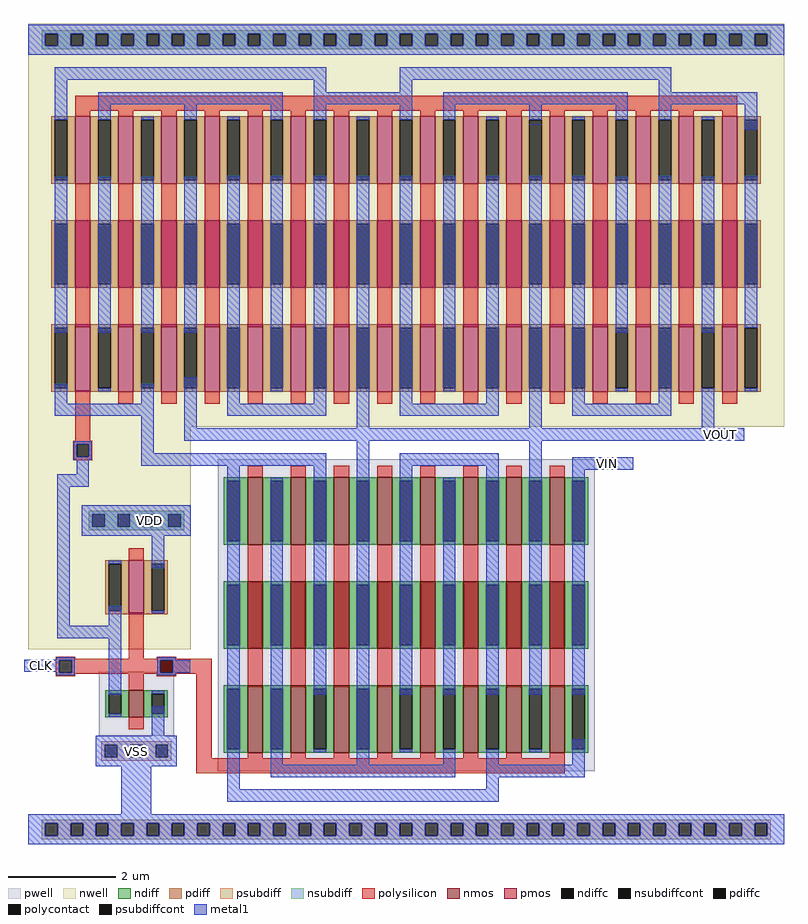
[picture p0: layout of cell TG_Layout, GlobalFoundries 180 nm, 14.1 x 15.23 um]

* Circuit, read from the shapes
.subckt TG_Layout CLK VIN VOUT VDD VSS
XM1 VSS CLK Inverter_Layout_0/OUT VSS nfet_03v3 w=0.5u l=0.28u
XM2 VOUT CLK VIN VSS nfet_03v3 w=1.25u l=0.28u m=24
XM3 VOUT Inverter_Layout_0/OUT VIN VDD pfet_03v3 w=1.25u l=0.28u m=48
XM4 VDD CLK Inverter_Layout_0/OUT VDD pfet_03v3 w=1u l=0.28u
.ends

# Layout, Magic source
magic
tech gf180mcuC
magscale 1 10
<< nwell >>
rect 61 2680 2865 2894
rect 1120 2594 1326 2595
rect 1440 2594 1486 2595
rect 2125 2538 2126 2640
rect 2080 2537 2126 2538
rect 1440 1438 1486 1541
rect 260 1398 664 1399
rect 61 1087 664 1398
rect 61 573 260 1087
<< pwell >>
rect 1280 120 1646 144
<< pdiff >>
rect 2125 2538 2126 2544
rect 2080 2537 2126 2538
rect 1440 1528 1486 1541
<< psubdiff >>
rect 111 -73 2815 -60
rect 111 -119 124 -73
rect 170 -119 218 -73
rect 264 -119 312 -73
rect 358 -119 406 -73
rect 452 -119 500 -73
rect 546 -119 594 -73
rect 640 -119 688 -73
rect 734 -119 782 -73
rect 828 -119 876 -73
rect 922 -119 970 -73
rect 1016 -119 1064 -73
rect 1110 -119 1158 -73
rect 1204 -119 1252 -73
rect 1298 -119 1346 -73
rect 1392 -119 1440 -73
rect 1486 -119 1534 -73
rect 1580 -119 1628 -73
rect 1674 -119 1722 -73
rect 1768 -119 1816 -73
rect 1862 -119 1910 -73
rect 1956 -119 2004 -73
rect 2050 -119 2098 -73
rect 2144 -119 2192 -73
rect 2238 -119 2286 -73
rect 2332 -119 2380 -73
rect 2426 -119 2474 -73
rect 2520 -119 2568 -73
rect 2614 -119 2662 -73
rect 2708 -119 2756 -73
rect 2802 -119 2815 -73
rect 111 -132 2815 -119
<< nsubdiff >>
rect 111 2857 2815 2870
rect 111 2811 124 2857
rect 170 2811 218 2857
rect 264 2811 312 2857
rect 358 2811 406 2857
rect 452 2811 500 2857
rect 546 2811 594 2857
rect 640 2811 688 2857
rect 734 2811 782 2857
rect 828 2811 876 2857
rect 922 2811 970 2857
rect 1016 2811 1064 2857
rect 1110 2811 1158 2857
rect 1204 2811 1252 2857
rect 1298 2811 1346 2857
rect 1392 2811 1440 2857
rect 1486 2811 1534 2857
rect 1580 2811 1628 2857
rect 1674 2811 1722 2857
rect 1768 2811 1816 2857
rect 1862 2811 1910 2857
rect 1956 2811 2004 2857
rect 2050 2811 2098 2857
rect 2144 2811 2192 2857
rect 2238 2811 2286 2857
rect 2332 2811 2380 2857
rect 2426 2811 2474 2857
rect 2520 2811 2568 2857
rect 2614 2811 2662 2857
rect 2708 2811 2756 2857
rect 2802 2811 2815 2857
rect 111 2798 2815 2811
<< psubdiffcont >>
rect 124 -119 170 -73
rect 218 -119 264 -73
rect 312 -119 358 -73
rect 406 -119 452 -73
rect 500 -119 546 -73
rect 594 -119 640 -73
rect 688 -119 734 -73
rect 782 -119 828 -73
rect 876 -119 922 -73
rect 970 -119 1016 -73
rect 1064 -119 1110 -73
rect 1158 -119 1204 -73
rect 1252 -119 1298 -73
rect 1346 -119 1392 -73
rect 1440 -119 1486 -73
rect 1534 -119 1580 -73
rect 1628 -119 1674 -73
rect 1722 -119 1768 -73
rect 1816 -119 1862 -73
rect 1910 -119 1956 -73
rect 2004 -119 2050 -73
rect 2098 -119 2144 -73
rect 2192 -119 2238 -73
rect 2286 -119 2332 -73
rect 2380 -119 2426 -73
rect 2474 -119 2520 -73
rect 2568 -119 2614 -73
rect 2662 -119 2708 -73
rect 2756 -119 2802 -73
<< nsubdiffcont >>
rect 124 2811 170 2857
rect 218 2811 264 2857
rect 312 2811 358 2857
rect 406 2811 452 2857
rect 500 2811 546 2857
rect 594 2811 640 2857
rect 688 2811 734 2857
rect 782 2811 828 2857
rect 876 2811 922 2857
rect 970 2811 1016 2857
rect 1064 2811 1110 2857
rect 1158 2811 1204 2857
rect 1252 2811 1298 2857
rect 1346 2811 1392 2857
rect 1440 2811 1486 2857
rect 1534 2811 1580 2857
rect 1628 2811 1674 2857
rect 1722 2811 1768 2857
rect 1816 2811 1862 2857
rect 1910 2811 1956 2857
rect 2004 2811 2050 2857
rect 2098 2811 2144 2857
rect 2192 2811 2238 2857
rect 2286 2811 2332 2857
rect 2380 2811 2426 2857
rect 2474 2811 2520 2857
rect 2568 2811 2614 2857
rect 2662 2811 2708 2857
rect 2756 2811 2802 2857
<< polysilicon >>
rect 235 2570 2691 2626
rect 235 1768 291 2296
rect 395 1768 451 2296
rect 555 1768 611 2296
rect 715 1768 771 2296
rect 875 1768 931 2296
rect 1035 1768 1091 2296
rect 1195 1768 1251 2296
rect 1355 1768 1411 2296
rect 1515 1768 1571 2296
rect 1675 1768 1731 2296
rect 1835 1768 1891 2296
rect 1995 1768 2051 2296
rect 2155 1768 2211 2296
rect 2315 1768 2371 2296
rect 2475 1768 2531 2296
rect 2635 1768 2691 2296
rect 235 1346 291 1534
rect 227 1333 299 1346
rect 227 1287 240 1333
rect 286 1287 299 1333
rect 227 1274 299 1287
rect 163 537 235 545
rect 163 532 741 537
rect 163 486 176 532
rect 222 486 741 532
rect 163 481 741 486
rect 163 473 235 481
rect 685 168 741 481
rect 875 432 931 960
rect 1035 432 1091 960
rect 1195 432 1251 960
rect 1355 432 1411 960
rect 1515 432 1571 960
rect 1675 432 1731 960
rect 1835 432 1891 960
rect 1995 432 2051 960
rect 685 112 2051 168
<< polycontact >>
rect 240 1287 286 1333
rect 176 486 222 532
<< metal1 >>
rect 61 2857 2865 2890
rect 61 2811 124 2857
rect 170 2811 218 2857
rect 264 2811 312 2857
rect 358 2811 406 2857
rect 452 2811 500 2857
rect 546 2811 594 2857
rect 640 2811 688 2857
rect 734 2811 782 2857
rect 828 2811 876 2857
rect 922 2811 970 2857
rect 1016 2811 1064 2857
rect 1110 2811 1158 2857
rect 1204 2811 1252 2857
rect 1298 2811 1346 2857
rect 1392 2811 1440 2857
rect 1486 2811 1534 2857
rect 1580 2811 1628 2857
rect 1674 2811 1722 2857
rect 1768 2811 1816 2857
rect 1862 2811 1910 2857
rect 1956 2811 2004 2857
rect 2050 2811 2098 2857
rect 2144 2811 2192 2857
rect 2238 2811 2286 2857
rect 2332 2811 2380 2857
rect 2426 2811 2474 2857
rect 2520 2811 2568 2857
rect 2614 2811 2662 2857
rect 2708 2811 2756 2857
rect 2802 2811 2865 2857
rect 61 2778 2865 2811
rect 160 2686 1166 2732
rect 160 2537 206 2686
rect 1120 2640 1166 2686
rect 1440 2686 2446 2732
rect 1440 2640 1486 2686
rect 2400 2640 2446 2686
rect 320 2594 1006 2640
rect 320 2537 366 2594
rect 640 2537 686 2594
rect 960 2537 1006 2594
rect 1120 2594 1486 2640
rect 1120 2537 1166 2594
rect 1440 2537 1486 2594
rect 1600 2594 2286 2640
rect 1600 2537 1646 2594
rect 1920 2537 1966 2594
rect 2240 2537 2286 2594
rect 2400 2594 2766 2640
rect 2400 2537 2446 2594
rect 1920 2519 1966 2520
rect 2720 2500 2766 2594
rect 160 1747 206 2326
rect 320 1747 366 2326
rect 480 1747 526 2326
rect 640 1747 686 2326
rect 160 1484 206 1558
rect 480 1484 526 1558
rect 160 1438 526 1484
rect 229 1333 297 1344
rect 229 1287 240 1333
rect 286 1287 297 1333
rect 229 1276 297 1287
rect 480 1300 526 1438
rect 640 1392 686 1582
rect 800 1484 846 2330
rect 960 1541 1006 2330
rect 1120 1484 1166 2330
rect 800 1438 1166 1484
rect 1280 1392 1326 2330
rect 1440 1484 1486 2330
rect 1600 1541 1646 2330
rect 1760 1484 1806 2330
rect 1440 1438 1806 1484
rect 1920 1392 1966 2330
rect 2080 1484 2126 2330
rect 2240 1747 2286 2326
rect 2400 1484 2446 2330
rect 2560 1747 2606 2326
rect 2720 1765 2766 2330
rect 2080 1438 2447 1484
rect 2560 1392 2606 1541
rect 640 1346 2717 1392
rect 240 1221 286 1276
rect 480 1254 1166 1300
rect 168 1175 286 1221
rect 168 659 214 1175
rect 260 994 664 1106
rect 168 613 405 659
rect 165 534 233 543
rect 45 532 233 534
rect 45 488 176 532
rect 165 486 176 488
rect 222 486 233 532
rect 165 475 233 486
rect 312 139 612 251
rect 406 -40 518 139
rect 800 52 846 1254
rect 960 144 1006 1197
rect 1120 403 1166 1254
rect 1280 144 1326 1346
rect 1440 1254 1806 1300
rect 1440 403 1486 1254
rect 1600 403 1646 1197
rect 1760 403 1806 1254
rect 1920 403 1966 1346
rect 2080 1239 2305 1285
rect 2080 403 2126 1239
rect 1600 144 1646 201
rect 960 98 1646 144
rect 1760 144 1806 201
rect 2080 144 2126 238
rect 1760 98 2126 144
rect 1760 52 1806 98
rect 800 6 1806 52
rect 61 -73 2865 -40
rect 61 -119 124 -73
rect 170 -119 218 -73
rect 264 -119 312 -73
rect 358 -119 406 -73
rect 452 -119 500 -73
rect 546 -119 594 -73
rect 640 -119 688 -73
rect 734 -119 782 -73
rect 828 -119 876 -73
rect 922 -119 970 -73
rect 1016 -119 1064 -73
rect 1110 -119 1158 -73
rect 1204 -119 1252 -73
rect 1298 -119 1346 -73
rect 1392 -119 1440 -73
rect 1486 -119 1534 -73
rect 1580 -119 1628 -73
rect 1674 -119 1722 -73
rect 1768 -119 1816 -73
rect 1862 -119 1910 -73
rect 1956 -119 2004 -73
rect 2050 -119 2098 -73
rect 2144 -119 2192 -73
rect 2238 -119 2286 -73
rect 2332 -119 2380 -73
rect 2426 -119 2474 -73
rect 2520 -119 2568 -73
rect 2614 -119 2662 -73
rect 2708 -119 2756 -73
rect 2802 -119 2865 -73
rect 61 -152 2865 -119
use Inverter_Layout  Inverter_Layout_0 ~/GF180Projects/Tapeout/Magic/Logic_Gates/Inverter
transform -1 0 602 0 1 263
box -62 -124 342 856
use nfet_03v3_DNGK9V  nfet_03v3_DNGK9V_0
transform 1 0 1463 0 1 699
box -700 -579 700 579
use pmos_3p3_QKQ23Q  pmos_3p3_QKQ23Q_0
transform 1 0 1463 0 1 2039
box -1402 -641 1402 641
<< labels >>
flabel metal1 2211 1262 2211 1262 0 FreeSans 320 0 0 0 VIN
port 5 nsew
flabel metal1 2628 1369 2628 1369 0 FreeSans 320 0 0 0 VOUT
port 7 nsew
flabel metal1 509 1050 509 1050 0 FreeSans 320 0 0 0 VDD
port 8 nsew
flabel metal1 462 194 462 194 0 FreeSans 320 0 0 0 VSS
port 9 nsew
flabel metal1 111 511 111 511 0 FreeSans 320 0 0 0 CLK
port 2 nsew
<< end >>

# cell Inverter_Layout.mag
magic
tech gf180mcuC
magscale 1 10
<< nwell >>
rect -62 731 342 856
<< psubdiff >>
rect 10 -45 270 -32
rect 10 -91 23 -45
rect 69 -91 117 -45
rect 163 -91 211 -45
rect 257 -91 270 -45
rect 10 -104 270 -91
<< nsubdiff >>
rect -37 810 317 823
rect -37 764 -24 810
rect 22 764 70 810
rect 116 764 164 810
rect 210 764 258 810
rect 304 764 317 810
rect -37 751 317 764
<< psubdiffcont >>
rect 23 -91 69 -45
rect 117 -91 163 -45
rect 211 -91 257 -45
<< nsubdiffcont >>
rect -24 764 22 810
rect 70 764 116 810
rect 164 764 210 810
rect 258 764 304 810
<< polysilicon >>
rect -8 274 64 282
rect 112 274 168 446
rect -8 269 168 274
rect -8 223 5 269
rect 51 223 168 269
rect -8 218 168 223
rect -8 210 64 218
rect 112 173 168 218
<< polycontact >>
rect 5 223 51 269
<< metal1 >>
rect -62 810 342 843
rect -62 764 -24 810
rect 22 764 70 810
rect 116 764 164 810
rect 210 764 258 810
rect 304 764 342 810
rect -62 731 342 764
rect 37 609 83 731
rect 197 396 243 470
rect 197 350 340 396
rect -6 269 62 280
rect -60 223 5 269
rect 51 223 62 269
rect -6 212 62 223
rect 197 141 243 350
rect 37 -12 83 98
rect -10 -45 290 -12
rect -10 -91 23 -45
rect 69 -91 117 -45
rect 163 -91 211 -45
rect 257 -91 290 -45
rect -10 -124 290 -91
use nfet_03v3_NULYT4  nfet_03v3_NULYT4_0
transform 1 0 140 0 1 107
box -140 -118 140 118
use pmos_3p3_MNVUAR  pmos_3p3_MNVUAR_0 ~/GF180Projects/Tapeout/Magic/Logic_Gates/AND_2_Input
transform 1 0 140 0 1 540
box -202 -230 202 230
<< labels >>
flabel psubdiffcont 140 -68 140 -68 0 FreeSans 320 0 0 0 VSS
port 7 nsew
flabel metal1 140 790 140 790 0 FreeSans 320 0 0 0 VDD
port 9 nsew
flabel metal1 -40 246 -40 246 0 FreeSans 320 0 0 0 IN
port 4 nsew
flabel metal1 279 373 279 373 0 FreeSans 320 0 0 0 OUT
port 6 nsew
<< end >>

# cell nfet_03v3_DNGK9V: kit device nfet_03v3, w 1.25 l 0.280 m 3 nf 8 diffcov 100 polycov 100 guard 0 glc 0 grc 0 gtc 0 gbc 0 tbcov 100 rlcov 100 topc 0 botc 0 poverlap 0 doverlap 1 lmin 0.28 wmin 0.22 full_metal 0 compatible {nfet_03v3 nfet_06v0 nfet_06v0_nvt}

# cell pmos_3p3_QKQ23Q: kit device pmos_3p3, w 1.25 l 0.280 m 3 nf 16 diffcov 100 polycov 100 guard 0 glc 0 grc 0 gtc 0 gbc 0 tbcov 100 rlcov 100 topc 0 botc 0 poverlap 0 doverlap 1 lmin 0.28 wmin 0.22 full_metal 0 compatible {pmos_3p3 pmos_6p0}

# cell nfet_03v3_NULYT4: kit device nfet_03v3, w 0.5 l 0.280 m 1 nf 1 diffcov 100 polycov 100 guard 0 glc 0 grc 0 gtc 0 gbc 0 tbcov 100 rlcov 100 topc 0 botc 0 poverlap 0 doverlap 1 lmin 0.28 wmin 0.22 full_metal 0 compatible {nfet_03v3 nfet_06v0 nfet_06v0_nvt}

# cell pmos_3p3_MNVUAR: kit device pmos_3p3, w 1 l 0.280 m 1 nf 1 diffcov 100 polycov 100 guard 0 glc 0 grc 0 gtc 0 gbc 0 tbcov 100 rlcov 100 topc 0 botc 0 poverlap 0 doverlap 1 lmin 0.28 wmin 0.22 full_metal 0 compatible {pmos_3p3 pmos_6p0}
